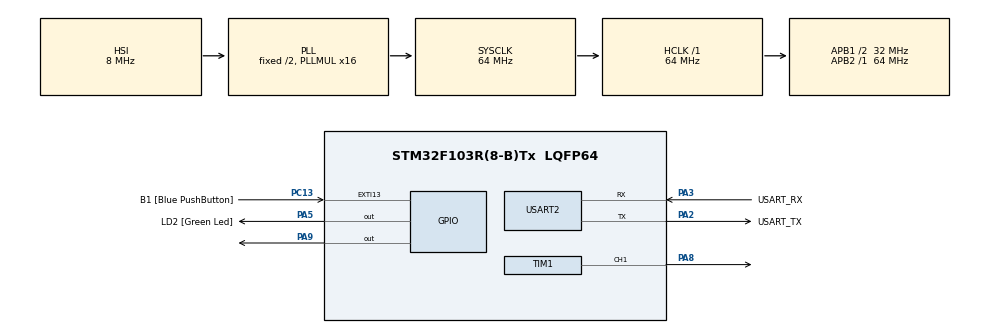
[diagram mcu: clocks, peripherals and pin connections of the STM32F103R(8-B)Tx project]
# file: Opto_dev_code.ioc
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Mcu.Family=STM32F1
Mcu.Name=STM32F103R(8-B)Tx
Mcu.Package=LQFP64
NVIC.EXTI15_10_IRQn=true\:0\:0\:false\:false\:true\:true\:true
NVIC.PriorityGroup=NVIC_PRIORITYGROUP_4
NVIC.USART2_IRQn=true\:0\:0\:false\:true\:true\:1\:true\:true
PA13.GPIO_Label=TMS
PA13.Mode=Serial_Wire
PA13.Signal=SYS_JTMS-SWDIO
PA14.GPIO_Label=TCK
PA14.Mode=Serial_Wire
PA14.Signal=SYS_JTCK-SWCLK
PA2.GPIO_Label=USART_TX
PA2.GPIO_Mode=GPIO_MODE_AF_PP
PA2.GPIO_PuPd=GPIO_NOPULL
PA2.GPIO_Speed=GPIO_SPEED_FREQ_LOW
PA2.Mode=Asynchronous
PA2.Signal=USART2_TX
PA3.GPIO_Label=USART_RX
PA3.GPIO_Mode=GPIO_MODE_AF_PP
PA3.GPIO_PuPd=GPIO_NOPULL
PA3.GPIO_Speed=GPIO_SPEED_FREQ_LOW
PA3.Mode=Asynchronous
PA3.Signal=USART2_RX
PA5.GPIO_Label=LD2 [Green Led]
PA5.GPIO_ModeDefaultOutputPP=GPIO_MODE_OUTPUT_PP
PA5.GPIO_PuPd=GPIO_NOPULL
PA5.GPIO_Speed=GPIO_SPEED_FREQ_LOW
PA5.Signal=GPIO_Output
PA8.Signal=S_TIM1_CH1
PA9.Signal=GPIO_Output
PB3.GPIO_Label=SWO
PB3.Signal=SYS_JTDO-TRACESWO
PC13-TAMPER-RTC.GPIO_Label=B1 [Blue PushButton]
PC13-TAMPER-RTC.GPIO_PuPd=GPIO_NOPULL
PC13-TAMPER-RTC.Signal=GPXTI13
PC14-OSC32_IN.Mode=LSE-External-Oscillator
PC14-OSC32_IN.Signal=RCC_OSC32_IN
PC15-OSC32_OUT.Mode=LSE-External-Oscillator
PC15-OSC32_OUT.Signal=RCC_OSC32_OUT
PD0-OSC_IN.Mode=HSE-External-Clock-Source
PD0-OSC_IN.Signal=RCC_OSC_IN
PD1-OSC_OUT.Mode=HSE-External-Clock-Source
PD1-OSC_OUT.Signal=RCC_OSC_OUT
ProjectManager.HeapSize=0x200
ProjectManager.StackSize=0x400
ProjectManager.TargetToolchain=STM32CubeIDE
RCC.ADCPresc=RCC_ADCPCLK2_DIV6
RCC.AHBFreq_Value=64000000
RCC.APB1CLKDivider=RCC_HCLK_DIV2
RCC.APB1Freq_Value=32000000
RCC.APB1TimFreq_Value=64000000
RCC.APB2Freq_Value=64000000
RCC.APB2TimFreq_Value=64000000
RCC.HCLKFreq_Value=64000000
RCC.PLLMUL=RCC_PLL_MUL16
RCC.RTCClockSelection=RCC_RTCCLKSOURCE_LSE
RCC.SYSCLKFreq_VALUE=64000000
RCC.SYSCLKSource=RCC_SYSCLKSOURCE_PLLCLK
RCC.USBFreq_Value=64000000
SH.S_TIM1_CH1.0=TIM1_CH1,PWM Generation1 CH1
TIM1.Channel-PWM\ Generation1\ CH1=TIM_CHANNEL_1
TIM1.Period=254
TIM1.Prescaler=11
TIM1.Pulse-PWM\ Generation1\ CH1=50
USART2.VirtualMode=VM_ASYNC
VP_TIM1_VS_ClockSourceINT.Mode=Internal
board=NUCLEO-F103RB

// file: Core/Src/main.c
/* USER CODE BEGIN Header */
/**
  ******************************************************************************
  * @file           : main.c
  * @brief          : Main program body
  ******************************************************************************
  * @attention
  *
  * <h2><center>&copy; Copyright (c) 2021 STMicroelectronics.
  * All rights reserved.</center></h2>
  *
  * This software component is licensed by ST under BSD 3-Clause license,
  * the "License"; You may not use this file except in compliance with the
  * License. You may obtain a copy of the License at:
  *                        opensource.org/licenses/BSD-3-Clause
  *
  ******************************************************************************
  */
/* USER CODE END Header */
#include "main.h"
#include "tim.h"
#include "usart.h"
#include "gpio.h"

/* USER CODE BEGIN Includes */
//#include <stdbool.h>
//#include <stdio.h>
//#include <stdint.h>
/* USER CODE END Includes */

/* USER CODE BEGIN PV */
uint8_t uart_rx[3] = {51,52,53};
uint8_t message[128];

uint16_t size =0;

uint16_t x =1;
int current = 1;

/* USER CODE END PV */

void SystemClock_Config(void);
static void MX_NVIC_Init(void);

int main(void)
{

  /* MCU Configuration--------------------------------------------------------*/

  /* Reset of all peripherals, Initializes the Flash interface and the Systick. */
  HAL_Init();

  /* Configure the system clock */
  SystemClock_Config();

  /* Initialize all configured peripherals */
  MX_GPIO_Init();
  MX_USART2_UART_Init();
  MX_TIM1_Init();

  /* Initialize interrupts */
  MX_NVIC_Init();
  /* USER CODE BEGIN 2 */
  HAL_TIM_PWM_Start(&htim1, TIM_CHANNEL_1);
  HAL_UART_Receive_IT(&huart2, uart_rx, 3);

  size = sprintf(message, "\nSTM32 is running...\n\r");
  HAL_UART_Transmit(&huart2, (uint8_t*)message, size, 100);

  /* USER CODE END 2 */

  /* Infinite loop */
  /* USER CODE BEGIN WHILE */
  while (1){
	  HAL_Delay(500);
    /* USER CODE END WHILE */

  }
}

void SystemClock_Config(void)
{
  RCC_OscInitTypeDef RCC_OscInitStruct = {0};
  RCC_ClkInitTypeDef RCC_ClkInitStruct = {0};

  /** Initializes the RCC Oscillators according to the specified parameters
  * in the RCC_OscInitTypeDef structure.
  */
  RCC_OscInitStruct.OscillatorType = RCC_OSCILLATORTYPE_HSI;
  RCC_OscInitStruct.HSIState = RCC_HSI_ON;
  RCC_OscInitStruct.HSICalibrationValue = RCC_HSICALIBRATION_DEFAULT;
  RCC_OscInitStruct.PLL.PLLState = RCC_PLL_ON;
  RCC_OscInitStruct.PLL.PLLSource = RCC_PLLSOURCE_HSI_DIV2;
  RCC_OscInitStruct.PLL.PLLMUL = RCC_PLL_MUL16;
  if (HAL_RCC_OscConfig(&RCC_OscInitStruct) != HAL_OK)
  {
    Error_Handler();
  }
  /** Initializes the CPU, AHB and APB buses clocks
  */
  RCC_ClkInitStruct.ClockType = RCC_CLOCKTYPE_HCLK|RCC_CLOCKTYPE_SYSCLK
                              |RCC_CLOCKTYPE_PCLK1|RCC_CLOCKTYPE_PCLK2;
  RCC_ClkInitStruct.SYSCLKSource = RCC_SYSCLKSOURCE_PLLCLK;
  RCC_ClkInitStruct.AHBCLKDivider = RCC_SYSCLK_DIV1;
  RCC_ClkInitStruct.APB1CLKDivider = RCC_HCLK_DIV2;
  RCC_ClkInitStruct.APB2CLKDivider = RCC_HCLK_DIV1;

  if (HAL_RCC_ClockConfig(&RCC_ClkInitStruct, FLASH_LATENCY_2) != HAL_OK)
  {
    Error_Handler();
  }
}

/**
  * @brief NVIC Configuration.
  * @retval None
  */
static void MX_NVIC_Init(void)
{
  /* USART2_IRQn interrupt configuration */
  HAL_NVIC_SetPriority(USART2_IRQn, 0, 0);
  HAL_NVIC_EnableIRQ(USART2_IRQn);
}

/* USER CODE BEGIN 4 */
void HAL_UART_RxCpltCallback(UART_HandleTypeDef *huart)
{

	if (uart_rx[0] == 101 && uart_rx[1] == 110){
		if(uart_rx[2] == 49){
			HAL_GPIO_WritePin(GPIOA, GPIO_PIN_9,SET);
			size = sprintf(message, "\n\r___________\n\rON\n");
			HAL_UART_Transmit(&huart2, (uint8_t*)message, size, 100);
		}
		else if (uart_rx[2] == 48){
			HAL_GPIO_WritePin(GPIOA, GPIO_PIN_9,RESET);
			size = sprintf(message, "\n\r___________\n\rOFF\n");
			HAL_UART_Transmit(&huart2, (uint8_t*)message, size, 100);
		}
	}
	else{
	sscanf(uart_rx, "%d", &x);

		if(x > 254){
			x =254;
		}
		current = x +25;
		__HAL_TIM_SET_COMPARE(&htim1, TIM_CHANNEL_1, x);

		size = sprintf(message, "\n\r___________\n\rreceive value: %d \n\rcurrent value: %d mA\n", x,current);
		HAL_UART_Transmit(&huart2, (uint8_t*)message, size, 100);

	}

    HAL_UART_Receive_IT(&huart2, uart_rx, 3);
}
/* USER CODE END 4 */

void Error_Handler(void)
{
  __disable_irq();
  while (1)
  {
  }
}

/************************ (C) COPYRIGHT STMicroelectronics *****END OF FILE****/
